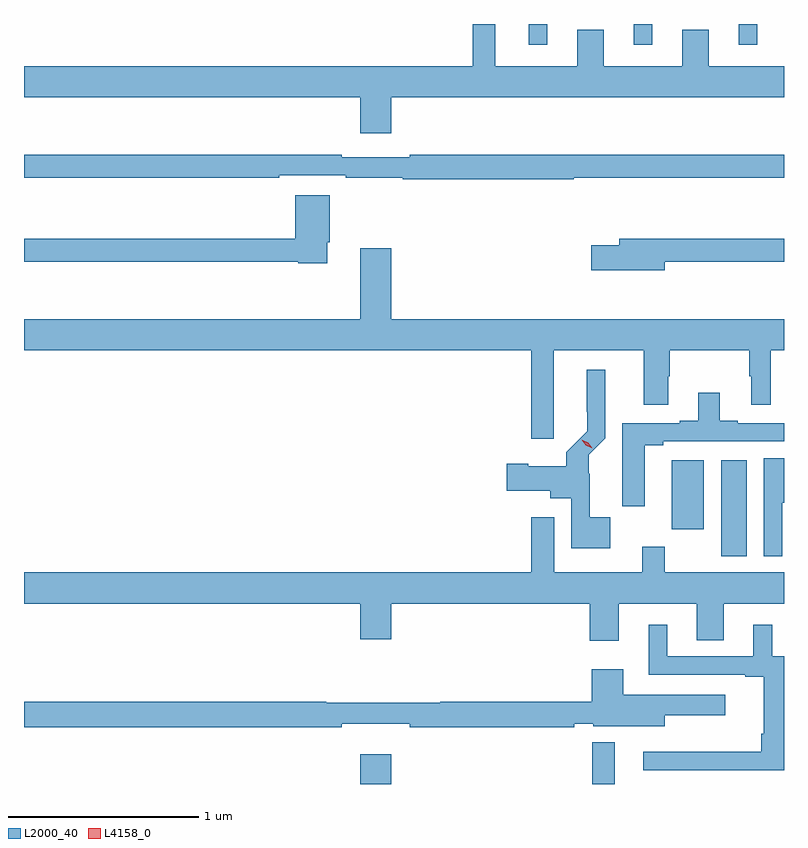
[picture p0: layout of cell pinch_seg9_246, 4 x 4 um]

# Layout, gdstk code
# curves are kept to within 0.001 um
import gdstk
lib = gdstk.Library(unit=1e-6, precision=1e-09)
def R(c, l, rs):  # rectangles x0, y0, x1, y1
    for r in rs: c.add(gdstk.rectangle(r[:2], r[2:], *l))
def A(c, l, x, y, w, h, nx, ny, dx, dy):  # array of equal rectangles
    R(c, l, [(x+i*dx, y+j*dy, x+i*dx+w, y+j*dy+h) for i in range(nx) for j in range(ny)])
def P(c, l, *ps):  # polygons
    for p in ps: c.add(gdstk.Polygon(p, *l))
L2000_40 = (2000, 40)
L4158_0 = (4158, 0)

pinch_seg9_246 = lib.new_cell('pinch_seg9_246')
A(pinch_seg9_246, L2000_40, 453.608, 1219.341, 0.098, 0.109, 3, 1, 0.552, 0)
R(pinch_seg9_246, L2000_40, [(452.72,1215.45,452.884,1215.607), (453.943,1215.45,454.06,1215.67), (454.622,1216.649,454.756,1217.155), (454.361,1216.79,454.528,1217.155)])
P(pinch_seg9_246, L2000_40, [(452.884,1219.064),(454.951,1219.064),(454.951,1219.228),(454.555,1219.228),(454.555,1219.421),(454.415,1219.421),(454.415,1219.228),(454.003,1219.228),(454.003,1219.421),(453.863,1219.421),(453.863,1219.228),(453.431,1219.228),(453.431,1219.45),(453.313,1219.45),(453.313,1219.228),(450.951,1219.228),(450.951,1219.064),(452.72,1219.064),(452.72,1218.876),(452.884,1218.876)],
  [(453.844,1218.642),(454.951,1218.642),(454.951,1218.763),(452.98,1218.763),(452.98,1218.75),(452.624,1218.75),(452.624,1218.763),(450.951,1218.763),(450.951,1218.642),(452.294,1218.642),(452.294,1218.654),(452.644,1218.654),(452.644,1218.642),(452.944,1218.642),(452.944,1218.634),(453.844,1218.634)],
  [(452.548,1218.301),(452.561,1218.301),(452.561,1218.55),(452.378,1218.55),(452.378,1218.319),(450.951,1218.319),(450.951,1218.198),(452.394,1218.198),(452.394,1218.19),(452.548,1218.19)],
  [(454.324,1218.198),(454.951,1218.198),(454.951,1218.319),(454.085,1218.319),(454.085,1218.285),(453.936,1218.285),(453.936,1218.155),(454.324,1218.155)],
  [(453.739,1217.732),(454.214,1217.732),(454.214,1217.445),(454.342,1217.445),(454.342,1217.596),(454.35,1217.596),(454.35,1217.732),(454.768,1217.732),(454.768,1217.596),(454.778,1217.596),(454.778,1217.445),(454.882,1217.445),(454.882,1217.732),(454.951,1217.732),(454.951,1217.896),(452.884,1217.896),(452.884,1218.271),(452.72,1218.271),(452.72,1217.896),(450.951,1217.896),(450.951,1217.732),(453.621,1217.732),(453.621,1217.268),(453.739,1217.268)],
  [(454.036,1216.855),(453.928,1216.855),(453.928,1217.084),(453.924,1217.084),(453.924,1217.184),(454.011,1217.271),(454.011,1217.629),(453.914,1217.629),(453.915,1217.307),(453.804,1217.196),(453.804,1217.122),(453.604,1217.122),(453.604,1217.135),(453.492,1217.135),(453.492,1216.993),(453.722,1216.993),(453.722,1216.955),(453.831,1216.955),(453.831,1216.691),(454.036,1216.691)],
  [(454.219,1217.233),(454.315,1217.233),(454.315,1217.253),(454.951,1217.253),(454.951,1217.349),(454.708,1217.349),(454.708,1217.362),(454.612,1217.362),(454.612,1217.509),(454.499,1217.509),(454.499,1217.362),(454.403,1217.362),(454.403,1217.349),(454.1,1217.349),(454.1,1216.911),(454.219,1216.911)],
  [(454.941,1216.931),(454.951,1216.931),(454.951,1217.164),(454.845,1217.164),(454.845,1216.649),(454.941,1216.649)],
  [(454.323,1216.699),(454.205,1216.699),(454.205,1216.564),(453.742,1216.564),(453.742,1216.855),(453.621,1216.855),(453.621,1216.564),(450.951,1216.564),(450.951,1216.4),(452.72,1216.4),(452.72,1216.212),(452.884,1216.212),(452.884,1216.4),(453.929,1216.4),(453.929,1216.203),(454.081,1216.203),(454.081,1216.4),(454.493,1216.4),(454.493,1216.207),(454.633,1216.207),(454.633,1216.4),(454.951,1216.4),(454.951,1216.564),(454.323,1216.564)],
  [(454.951,1216.122),(454.888,1216.122),(454.888,1216.288),(454.79,1216.288),(454.79,1216.122),(454.336,1216.122),(454.336,1216.288),(454.238,1216.288),(454.238,1216.026),(454.748,1216.026),(454.748,1216.014),(454.844,1216.014),(454.844,1215.715),(454.832,1215.715),(454.832,1215.62),(454.209,1215.62),(454.209,1215.522),(454.951,1215.522)],
  [(452.624,1215.767),(452.98,1215.767),(452.98,1215.748),(453.848,1215.748),(453.848,1215.768),(453.948,1215.768),(453.948,1215.755),(454.324,1215.755),(454.324,1215.812),(454.642,1215.812),(454.642,1215.919),(454.105,1215.919),(454.105,1216.054),(453.938,1216.054),(453.938,1215.884),(453.142,1215.884),(453.142,1215.877),(452.542,1215.877),(452.542,1215.884),(450.951,1215.884),(450.951,1215.748),(452.624,1215.748)])
P(pinch_seg9_246, L4158_0, [(453.942,1217.216),(453.908,1217.232),(453.887,1217.262),(453.887,1217.263),(453.887,1217.263),(453.921,1217.247),(453.943,1217.216),(453.943,1217.216)])

lib.write_gds('pinch_seg9_246.gds')
